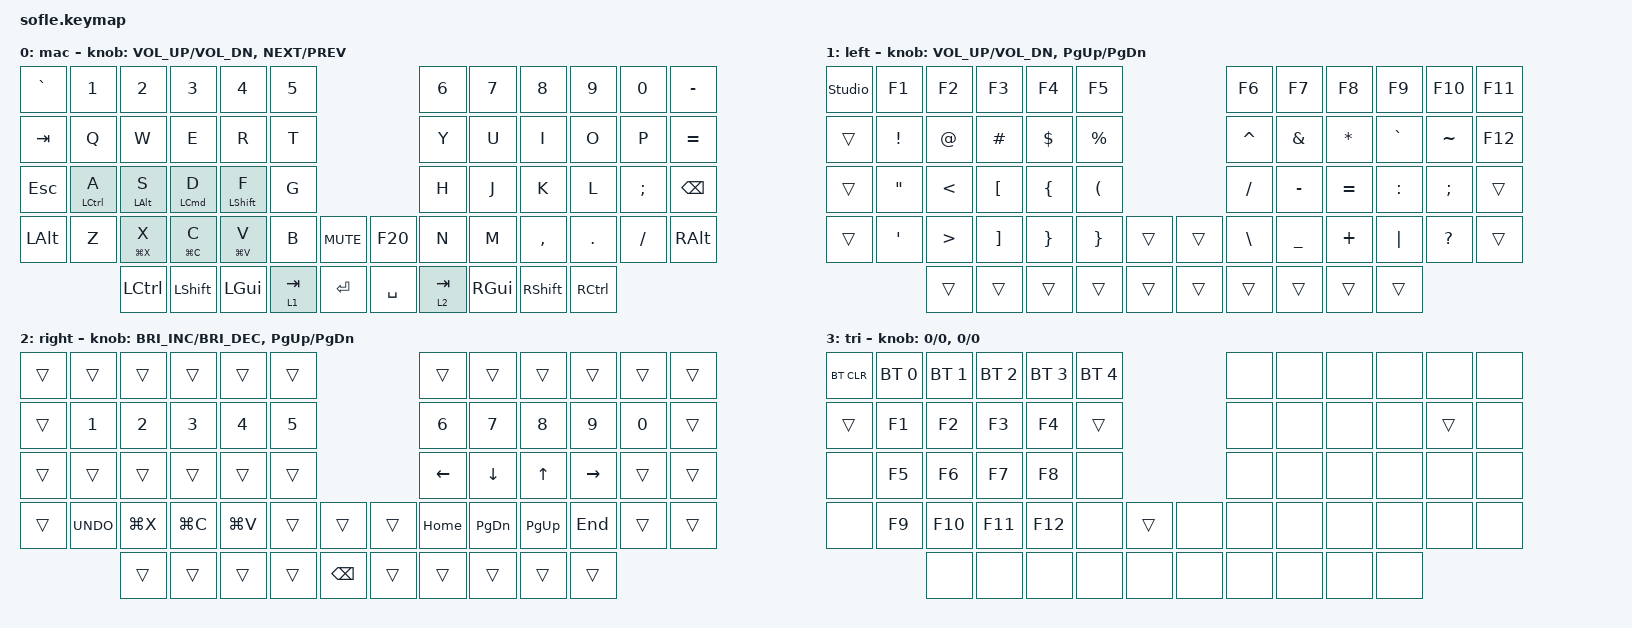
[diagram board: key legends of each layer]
/*
 * Copyright (c) 2020 The ZMK Contributors
 *
 * SPDX-License-Identifier: MIT
 */

#include <behaviors.dtsi>
#include <dt-bindings/zmk/bt.h>
#include <dt-bindings/zmk/keys.h>

#define BASE 0
#define LOWER 1
#define RAISE 2
#define ADJUST 3

/ {
    // Activate ADJUST layer by pressing raise and lower

    conditional_layers {
        compatible = "zmk,conditional-layers";

        tri_layer {
            if-layers = <1 2>;
            then-layer = <3>;
        };
    };

    behaviors {
        HMShiftR: HMShiftR {
            compatible = "zmk,behavior-hold-tap";
            label = "HMSHIFTR";
            bindings = <&kp>, <&kp>;

            #binding-cells = <2>;
            tapping-term-ms = <200>;
            hold-while-undecided;
            hold-trigger-key-positions = <0 1 2 3 4 5 12 13 14 15 16 17 24 25 26 27 28 29 36 37 38 39 40 41 42 50 51 52 53 54>;
            hold-trigger-on-release;
        };

        HMShiftL: HMShiftL {
            compatible = "zmk,behavior-hold-tap";
            label = "HMSHIFTL";
            bindings = <&kp>, <&kp>;

            #binding-cells = <2>;
            tapping-term-ms = <200>;
            hold-while-undecided;
            hold-trigger-on-release;
            hold-trigger-key-positions = <55 6 7 8 9 10 11 18 19 20 21 22 23 30 31 32 33 34 35 43 44 45 46 47 48 49 55 56 57 58 59>;
        };

        HMR: HMR {
            compatible = "zmk,behavior-hold-tap";
            label = "HMR";
            bindings = <&kp>, <&kp>;

            #binding-cells = <2>;
            tapping-term-ms = <200>;
            hold-while-undecided;
            hold-trigger-key-positions = <0 1 2 3 4 5 12 13 14 15 16 17 24 25 26 27 28 29 36 37 38 39 40 41 42 50 51 52 53 54>;
            hold-trigger-on-release;
            flavor = "tap-preferred";
        };

        HML: HML {
            compatible = "zmk,behavior-hold-tap";
            label = "HML";
            bindings = <&kp>, <&kp>;

            #binding-cells = <2>;
            tapping-term-ms = <200>;
            hold-while-undecided;
            hold-trigger-on-release;
            hold-trigger-key-positions = <55 6 7 8 9 10 11 18 19 20 21 22 23 30 31 32 33 34 35 43 44 45 46 47 48 49 55 56 57 58 59>;
            flavor = "tap-preferred";
        };

        DTapQuote: DTapQuote {
            compatible = "zmk,behavior-tap-dance";
            label = "DTAPQUOTE";
            #binding-cells = <0>;
            bindings = <&kp SINGLE_QUOTE>, <&kp DOUBLE_QUOTES>;

            tapping-term-ms = <350>;
        };

        longPress: longPress {
            compatible = "zmk,behavior-hold-tap";
            label = "LONGPRESS";
            bindings = <&kp>, <&kp>;

            #binding-cells = <2>;
            tapping-term-ms = <350>;
            flavor = "tap-preferred";
        };

        DTapBackslash: DTapBackslash {
            compatible = "zmk,behavior-tap-dance";
            label = "DTAPBACKSLASH";
            #binding-cells = <0>;
            bindings = <&kp SLASH>, <&kp BACKSLASH>;

            tapping-term-ms = <350>;
        };

        HDTapBackslashPipe: HDTapBackslashPipe {
            compatible = "zmk,behavior-hold-tap";
            label = "HDTAPBACKSLASHPIPE";
            bindings = <&kp>, <&DTapBackslash>;

            #binding-cells = <2>;
            tapping-term-ms = <350>;
            flavor = "tap-preferred";
        };

        DTapComma: DTapComma {
            compatible = "zmk,behavior-tap-dance";
            label = "DTAPCOMMA";
            #binding-cells = <0>;
            bindings = <&kp DOT>, <&kp COMMA>;

            tapping-term-ms = <350>;
        };

        DTapUnderscore: DTapUnderscore {
            compatible = "zmk,behavior-tap-dance";
            label = "DTAPUNDERSCORE";
            #binding-cells = <0>;
            bindings = <&kp MINUS>, <&kp UNDERSCORE>;
        };
    };

    keymap {
        compatible = "zmk,keymap";

        mac_layer {
            label = "mac";

            // ------------------------------------------------------------------------------------------------------------
            // |   `   |  1  |  2  |  3   |  4   |  5   |                   |  6   |  7    |  8    |  9   |   0   |       |
            // |  ESC  |  Q  |  W  |  E   |  R   |  T   |                   |  Y   |  U    |  I    |  O   |   P   | BKSPC |
            // |  TAB  |  A  |  S  |  D   |  F   |  G   |                   |  H   |  J    |  K    |  L   |   ;   |   '   |
            // | SHIFT |  Z  |  X  |  C   |  V   |  B   |  MUTE  |  |       |  N   |  M    |  ,    |  .   |   /   | SHIFT |
            //               | GUI | ALT  | CTRL | LOWER|  ENTER |  | SPACE | RAISE| CTRL  | ALT   | GUI  |

            bindings = <
&kp GRAVE     &kp N1               &kp N2              &kp N3               &kp N4                  &kp N5                              &kp N6     &kp N7         &kp N8           &kp N9             &kp N0    &kp MINUS
&kp TAB       &kp Q                &kp W               &kp E                &kp R                   &kp T                               &kp Y      &kp U          &kp I            &kp O              &kp P     &kp EQUAL
&kp ESC       &HML LEFT_CONTROL A  &HML LEFT_ALT S     &HML LEFT_COMMAND D  &HMShiftL LEFT_SHIFT F  &kp G                               &kp H      &kp J          &kp K            &kp L              &kp SEMI  &kp BACKSPACE
&kp LEFT_ALT  &kp Z                &longPress LG(X) X  &longPress LG(C) C   &longPress LG(V) V      &kp B      &kp C_MUTE    &kp F20    &kp N      &kp M          &kp COMMA        &kp DOT            &kp FSLH  &kp RIGHT_ALT
                                   &kp LEFT_CONTROL    &kp LEFT_SHIFT       &kp LEFT_GUI            &lt 1 TAB  &kp ENTER     &kp SPACE  &lt 2 TAB  &kp RIGHT_GUI  &kp RIGHT_SHIFT  &kp RIGHT_CONTROL
            >;

            sensor-bindings =
                <&inc_dec_kp C_VOL_UP C_VOL_DN>,
                <&inc_dec_kp C_NEXT C_PREV>;
        };

        left_layer {
            label = "left";

            // TODO: Some binds are waiting for shifted keycode support.
            // ------------------------------------------------------------------------------------------------------------
            // |       |  F1 |  F2 |  F3  |  F4  |  F5  |                   |  F6  |  F7   |  F8   |  F9  |  F10  |  F11  |
            // |   `   |  1  |  2  |  3   |  4   |  5   |                   |  6   |  7    |  8    |  9   |   0   |  F12  |
            // |       |  !  |  @  |  #   |  $   |  %   |                   |  ^   |  &    |  *    |  (   |   )   |   |   |
            // |       |  =  |  -  |  +   |  {   |  }   |        |  |       |  [   |  ]    |  ;    |  :   |   \   |       |
            //               |     |      |      |      |        |  |       |      |       |       |      |

            bindings = <
&studio_unlock  &kp F1             &kp F2            &kp F3             &kp F4           &kp F5                                  &kp F6         &kp F7          &kp F8        &kp F9     &kp F10       &kp F11
&trans          &kp EXCLAMATION    &kp AT_SIGN       &kp HASH           &kp DOLLAR       &kp PERCENT                             &kp CARET      &kp AMPERSAND   &kp ASTERISK  &kp GRAVE  &kp TILDE     &kp F12
&trans          &kp DOUBLE_QUOTES  &kp LT            &kp LEFT_BRACKET   &kp LEFT_BRACE   &kp LEFT_PARENTHESIS                    &kp SLASH      &kp MINUS       &kp EQUAL     &kp COLON  &kp SEMI      &trans
&trans          &kp SINGLE_QUOTE   &kp GREATER_THAN  &kp RIGHT_BRACKET  &kp RIGHT_BRACE  &kp RBRC              &trans    &trans  &kp BACKSLASH  &kp UNDERSCORE  &kp PLUS      &kp PIPE   &kp QUESTION  &trans
                                   &trans            &trans             &trans           &trans                &trans    &trans  &trans         &trans          &trans        &trans
            >;

            sensor-bindings = <&inc_dec_kp C_VOL_UP C_VOL_DN &inc_dec_kp PG_UP PG_DN>;
        };

        right_layer {
            label = "right";

            // ------------------------------------------------------------------------------------------------------------
            // | BTCLR | BT1  | BT2  |  BT3  |  BT4  |  BT5 |                |      |      |       |      |       |       |
            // |       | INS  | PSCR | GUI   |       |      |                | PGUP |      |   ^   |      |       |       |
            // |       | ALT  | CTRL | SHIFT |       | CAPS |                | PGDN |   <- |   v   |  ->  |  DEL  | BKSPC |
            // |       | UNDO | CUT  | COPY  | PASTE |      |      |  |      |      |      |       |      |       |       |
            //                |      |       |       |      |      |  |      |      |      |       |      |

            bindings = <
&trans  &trans      &trans     &trans     &trans     &trans                           &trans    &trans          &trans        &trans     &trans  &trans
&trans  &kp N1      &kp N2     &kp N3     &kp N4     &kp N5                           &kp N6    &kp N7          &kp N8        &kp N9     &kp N0  &trans
&trans  &trans      &trans     &trans     &trans     &trans                           &kp LEFT  &kp DOWN_ARROW  &kp UP_ARROW  &kp RIGHT  &trans  &trans
&trans  &kp K_UNDO  &kp LG(X)  &kp LG(C)  &kp LG(V)  &trans  &trans           &trans  &kp HOME  &kp PAGE_DOWN   &kp PAGE_UP   &kp END    &trans  &trans
                    &trans     &trans     &trans     &trans  &kp BACKSPACE    &trans  &trans    &trans          &trans        &trans
            >;

            sensor-bindings =
                <&inc_dec_kp C_BRIGHTNESS_INC C_BRIGHTNESS_DEC>,
                <&inc_dec_kp PG_UP PG_DN>;
        };

        tri_layer {
            // ----------------------------------------------------------------------------------------------------------------------------
            // | BTCLR  |  BT1    |  BT2    |   BT3   |   BT4   |   BT5   |                  |      |      |       |      |       |       |
            // | EXTPWR | RGB_HUD | RGB_HUI | RGB_SAD | RGB_SAI | RGB_EFF |                  |      |      |       |      |       |       |
            // |        | RGB_BRD | RGB_BRI |         |         |         |                  |      |      |       |      |       |       |
            // |        |         |         |         |         |         | RGB_TOG | |      |      |      |       |      |       |       |
            //                    |         |         |         |         |         | |      |      |      |       |      |

            label = "tri";
            bindings = <
&bt BT_CLR  &bt BT_SEL 0  &bt BT_SEL 1  &bt BT_SEL 2  &bt BT_SEL 3  &bt BT_SEL 4                   &none  &none  &none  &none  &none   &none
&trans      &kp F1        &kp F2        &kp F3        &kp F4        &trans                         &none  &none  &none  &none  &trans  &none
&none       &kp F5        &kp F6        &kp F7        &kp F8        &none                          &none  &none  &none  &none  &none   &none
&none       &kp F9        &kp F10       &kp F11       &kp F12       &none         &trans    &none  &none  &none  &none  &none  &none   &none
                          &none         &none         &none         &none         &none     &none  &none  &none  &none  &none
            >;

            sensor-bindings = <&inc_dec_kp 0 0>, <&inc_dec_kp 0 0>;
        };
    };
};
